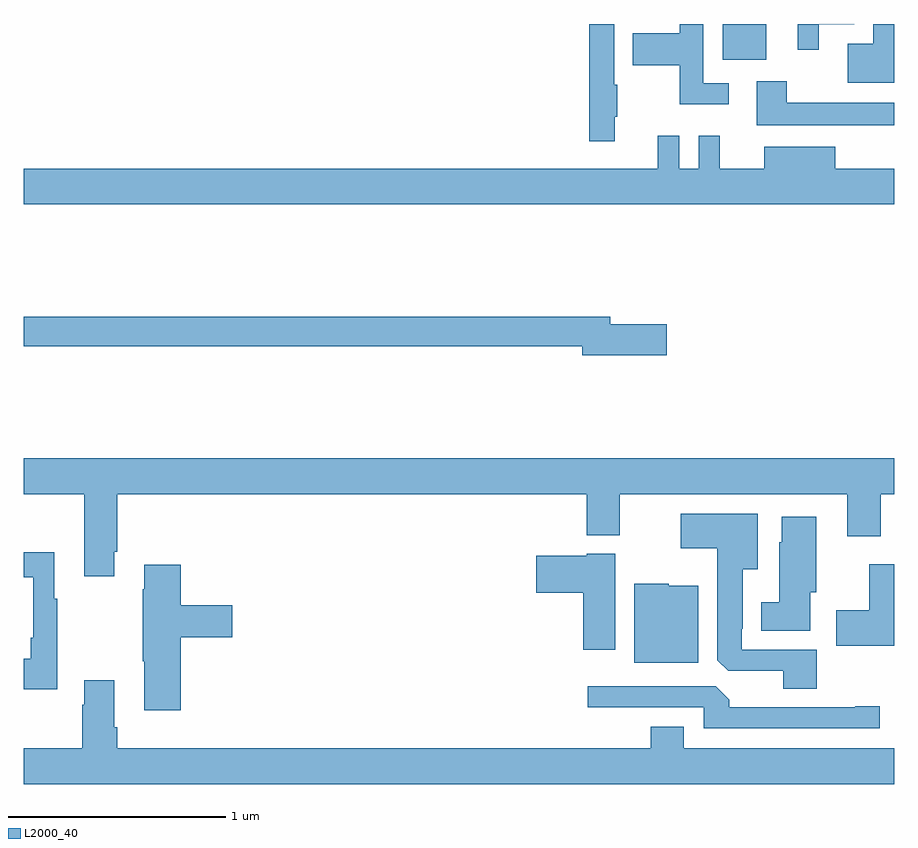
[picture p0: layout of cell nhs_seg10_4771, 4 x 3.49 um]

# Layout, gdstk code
import gdstk
lib = gdstk.Library(unit=1e-6, precision=1e-09)
def R(c, l, rs):  # rectangles x0, y0, x1, y1
    for r in rs: c.add(gdstk.rectangle(r[:2], r[2:], *l))
def P(c, l, *ps):  # polygons
    for p in ps: c.add(gdstk.Polygon(p, *l))
L2000_40 = (2000, 40)

nhs_seg10_4771 = lib.new_cell('nhs_seg10_4771')
R(nhs_seg10_4771, L2000_40, [(388.211,1278.335,388.411,1278.5)])
P(nhs_seg10_4771, L2000_40, [(388.654,1278.498),(388.816,1278.498),(388.816,1278.5),(388.556,1278.5),(388.556,1278.381),(388.654,1278.381)],
  [(389,1278.5),(388.904,1278.5),(388.904,1278.409),(388.787,1278.409),(388.787,1278.23),(389,1278.23)],
  [(388.24,1278.228),(388.122,1278.228),(388.122,1278.5),(388.014,1278.5),(388.014,1278.457),(387.799,1278.457),(387.799,1278.31),(388.014,1278.31),(388.014,1278.131),(388.24,1278.131)],
  [(387.716,1278.073),(387.727,1278.073),(387.727,1278.221),(387.714,1278.221),(387.714,1278.5),(387.598,1278.5),(387.598,1277.961),(387.716,1277.961)],
  [(389,1278.139),(388.507,1278.139),(388.507,1278.238),(388.367,1278.238),(388.367,1278.035),(389,1278.035)],
  [(389,1277.836),(388.729,1277.836),(388.729,1277.935),(388.403,1277.935),(388.403,1277.836),(388.199,1277.836),(388.199,1277.986),(388.101,1277.986),(388.101,1277.836),(388.011,1277.836),(388.011,1277.986),(387.914,1277.986),(387.914,1277.836),(385,1277.836),(385,1277.672),(389,1277.672)],
  [(387.955,1277.12),(387.694,1277.12),(387.694,1277.156),(385,1277.156),(385,1277.02),(387.566,1277.02),(387.566,1276.978),(387.955,1276.978)],
  [(385.417,1276.075),(385.43,1276.075),(385.43,1276.34),(387.587,1276.34),(387.587,1276.151),(387.739,1276.151),(387.739,1276.34),(388.784,1276.34),(388.784,1276.146),(388.937,1276.146),(388.937,1276.34),(389,1276.34),(389,1276.504),(385,1276.504),(385,1276.34),(385.277,1276.34),(385.277,1275.963),(385.417,1275.963)],
  [(388.643,1275.624),(388.299,1275.624),(388.299,1275.721),(388.303,1275.721),(388.303,1275.995),(388.372,1275.995),(388.372,1276.249),(388.02,1276.249),(388.02,1276.091),(388.187,1276.091),(388.187,1275.577),(388.236,1275.528),(388.49,1275.528),(388.49,1275.445),(388.643,1275.445)],
  [(388.615,1275.888),(388.642,1275.888),(388.642,1276.237),(388.484,1276.237),(388.484,1276.119),(388.472,1276.119),(388.472,1275.844),(388.388,1275.844),(388.388,1275.713),(388.615,1275.713)],
  [(385.153,1275.859),(385.141,1275.859),(385.141,1276.072),(385,1276.072),(385,1275.959),(385.044,1275.959),(385.044,1275.679),(385.032,1275.679),(385.032,1275.583),(385,1275.583),(385,1275.443),(385.153,1275.443)],
  [(387.718,1276.066),(387.588,1276.066),(387.588,1276.057),(387.354,1276.057),(387.354,1275.887),(387.572,1275.887),(387.572,1275.624),(387.718,1275.624)],
  [(389,1276.018),(388.886,1276.018),(388.886,1275.807),(388.734,1275.807),(388.734,1275.644),(389,1275.644)],
  [(385.721,1275.683),(385.957,1275.683),(385.957,1275.83),(385.721,1275.83),(385.721,1276.015),(385.553,1276.015),(385.553,1275.902),(385.546,1275.902),(385.546,1275.571),(385.553,1275.571),(385.553,1275.348),(385.721,1275.348)],
  [(388.099,1275.919),(387.963,1275.919),(387.963,1275.928),(387.806,1275.928),(387.806,1275.566),(388.099,1275.566)],
  [(389,1275.172),(388.033,1275.172),(388.033,1275.271),(387.881,1275.271),(387.881,1275.172),(385.43,1275.172),(385.43,1275.268),(385.417,1275.268),(385.417,1275.484),(385.277,1275.484),(385.277,1275.371),(385.27,1275.371),(385.27,1275.172),(385,1275.172),(385,1275.008),(389,1275.008)],
  [(388.933,1275.365),(388.82,1275.365),(388.82,1275.36),(388.241,1275.36),(388.241,1275.394),(388.179,1275.456),(387.591,1275.456),(387.591,1275.36),(388.125,1275.36),(388.125,1275.264),(388.933,1275.264)])

lib.write_gds('nhs_seg10_4771.gds')
